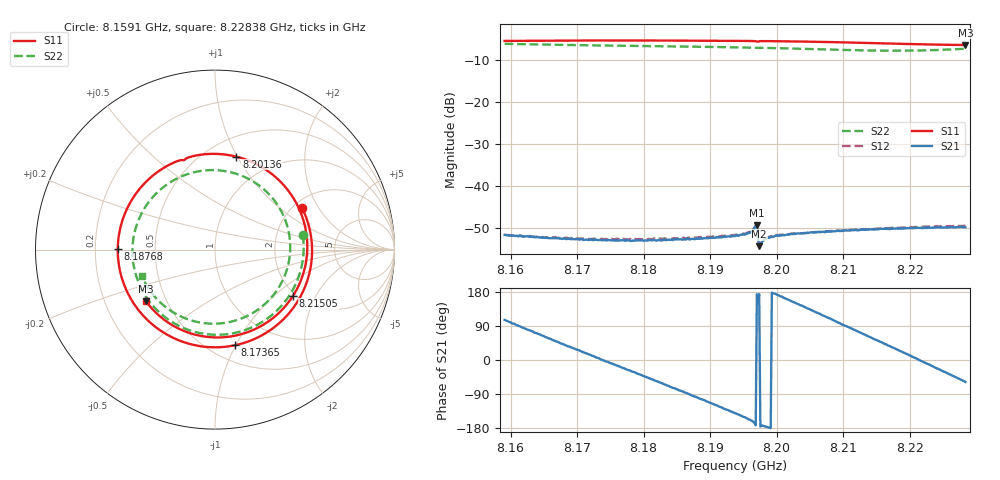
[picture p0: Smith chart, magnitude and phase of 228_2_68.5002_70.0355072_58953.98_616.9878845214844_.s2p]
#  HZ  S  RI  R  50.00
! Rohde & Schwarz Vector Network Analyzer
! Rohde-Schwarz,ZNB20-2Port,1311601062101988,3.16
! Created: UTC 3/20/2024, 4:58:50 PM
! freq[Hz]  re:S11  im:S11  re:S21  im:S21  re:S12  im:S12  re:S22  im:S22
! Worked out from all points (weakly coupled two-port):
!   401 points, 8.1591 GHz to 8.22838 GHz, reference 50 ohm
!   highest |S21| = -49.27 dB at 8.19703 GHz (marker M1); lowest = -54.3 dB at 8.19738 GHz (marker M2)
!   lowest |S11| = -6.4 dB at 8.22838 GHz (marker M3), VSWR 2.85, Z = 19.2 - j14.4 ohm
!   |S11| at or under -10 dB: nowhere
!   |S22| runs from -7.7 to -6.1 dB; largest |S21 - S12| = 0.00023
!   S11 on the Smith chart (normalised r, x): 8.1591 GHz: 2.23, +1.45; 8.17365 GHz: 0.65, -0.99; 8.18768 GHz: 0.30, +0.00; 8.20136 GHz: 0.69, +0.99; 8.21505 GHz: 1.93, -1.33; 8.22838 GHz: 0.38, -0.29
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8.159105e9  0.4854 0.2313  -0.000718 0.00253  -0.000699 0.00254  0.4895 0.0802
8.16482e9  0.5232 -0.1427  0.00105 0.00219  0.0011 0.00222  0.4189 -0.2489
8.170709e9  0.2947 -0.4577  0.00216 0.000872  0.0022 0.000896  0.1511 -0.4538
8.173653e9  0.1103 -0.5332  0.00227 5.07e-05  0.00236 9.33e-05  -0.0161 -0.4739
8.17781e9  -0.1709 -0.5166  0.00201 -0.00103  0.00204 -0.00109  -0.2391 -0.4035
8.182313e9  -0.4228 -0.3413  0.0012 -0.00195  0.00124 -0.002  -0.4087 -0.2202
8.187682e9  -0.5419 0.00556  -0.000276 -0.0023  -0.000328 -0.00242  -0.4533 0.07
8.190626e9  -0.4998 0.206  -0.0011 -0.00215  -0.00121 -0.00219  -0.3973 0.2228
8.193743e9  -0.3766 0.3852  -0.00195 -0.00163  -0.00206 -0.00162  -0.2827 0.352
8.196688e9  -0.2001 0.496  -0.00308 -0.000718  -0.00316 -0.000592  -0.1358 0.4258
8.197034e9  -0.175 0.4982  -0.00342 0.000392  -0.0035 0.000574  -0.1169 0.4307
8.19738e9  -0.1616 0.5075  -0.00191 0.000199  -0.00193 0.00027  -0.0981 0.4348
8.197727e9  -0.1369 0.5169  -0.00211 -0.000232  -0.00212 -0.000158  -0.0788 0.4382
8.201364e9  0.1193 0.518  -0.00249 0.000815  -0.00251 0.000922  0.1252 0.4202
8.205347e9  0.3622 0.3809  -0.00183 0.00212  -0.00174 0.00218  0.3147 0.2934
8.21037e9  0.512 0.0638  -5.17e-06 0.00298  6.05e-05 0.00299  0.4191 0.0191
8.215046e9  0.4351 -0.257  0.00185 0.00244  0.00195 0.00241  0.3279 -0.2503
8.216951e9  0.3464 -0.3617  0.00245 0.00186  0.00257 0.00182  0.24 -0.334
8.219722e9  0.1745 -0.4627  0.00305 0.000795  0.00316 0.00068  0.075 -0.4048
8.222493e9  -0.0233 -0.4882  0.00313 -0.000486  0.0032 -0.000627  -0.1086 -0.4009
8.225265e9  -0.215 -0.4338  0.00275 -0.0017  0.00274 -0.00187  -0.2771 -0.3188
8.228382e9  -0.3846 -0.2882  0.00171 -0.00273  0.00162 -0.0029  -0.4072 -0.1486
